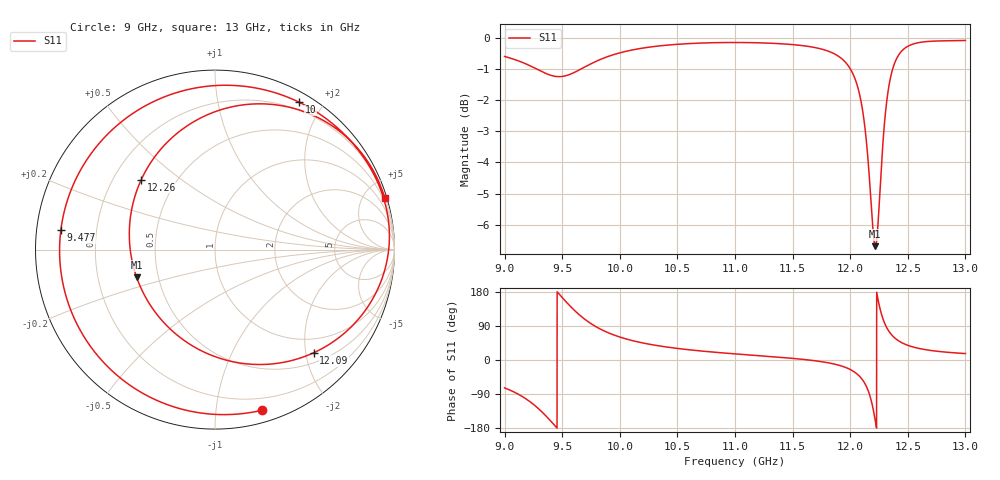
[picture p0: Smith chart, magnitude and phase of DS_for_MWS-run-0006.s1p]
! TOUCHSTONE file generated by CST DESIGN STUDIO
! Date and time: Tue Feb  4 16:29:41 2025
! Project name: C:\Work\MatlabApps\UnitCellOptimizationMatlab\CST\unitcell.cst
! Tree item: Tasks\Sweep1\SPara1\S-Parameters
! Header version: 2024
! Port assignment regex: !\s*Touchstone port\s*([0-9]+)\s*=\s*(CST MWS port|CST DES external port|CST DES block port)\s*(.+)\s* \(\"(.*)\"\)(\s*mode\s*([0-9]+))?.*
! Touchstone port assignment:
! Touchstone port 1 = CST DES external port 1 ("")
# GHz S MA R 50
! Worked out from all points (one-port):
!   4001 points, 9 GHz to 13 GHz, reference 50 ohm
!   lowest |S11| = -6.7 dB at 12.22 GHz (marker M1), VSWR 2.72, Z = 18.8 - j7.4 ohm
!   |S11| at or under -10 dB: nowhere
!   S11 on the Smith chart (normalised r, x): 9 GHz: 0.10, -1.33; 9.477 GHz: 0.07, +0.06; 10 GHz: 0.11, +1.72; 12.09 GHz: 0.69, -2.16; 12.26 GHz: 0.32, +0.36; 13 GHz: 0.24, +6.67
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9  0.9328 -73.7
9.151  0.913 -95.9
9.26  0.8939 -119.5
9.384  0.8721 -155.7
9.477  0.8658 172.7
9.5  0.8664 164.8
9.602  0.8787 132.2
9.702  0.8984 106.1
9.847  0.9251 79.2
10  0.9453 60.6
10.004  0.9457 60.2
10.217  0.9631 43.9
10.5  0.9756 30.5
11  0.9821 16.1
11.5  0.9745 4.3
11.805  0.9519 -7.1
12  0.8916 -25.0
12.091  0.7956 -46.2
12.164  0.6053 -87.7
12.191  0.5115 -117.8
12.218  0.463 -160.5
12.258  0.5664 136.5
12.292  0.7088 102.3
12.331  0.8253 78.2
12.403  0.9255 54.2
12.5  0.9684 38.7
12.676  0.9859 26.2
13  0.9895 17.0
